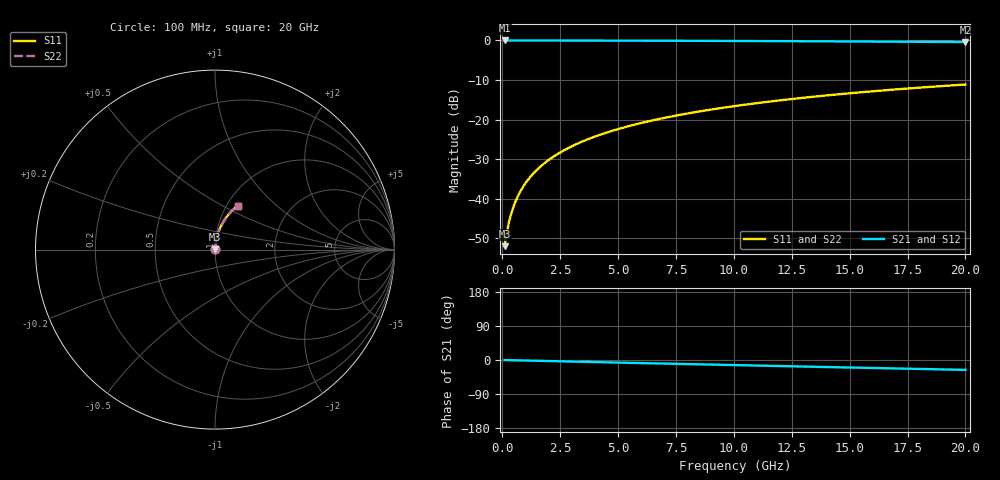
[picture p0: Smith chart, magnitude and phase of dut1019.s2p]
! Touchstone file exported from HFSS 2026.1.0
!  File:  C:/ffzhzh/LocalFiles/Ansys_Project_Files/temp_train_BSMRDL_1019_1783173414_51560.aedt
!  Generated:  09:58:08 PM Jul  4, 2026
!  Design:  BSMRDL
!  Project:  temp_train_BSMRDL_1019_1783173414_51560
! Variables:
!  h_bsmrdl = 3.8um
!  h_ox = 20um
!  h_rdl = 5um
!  h_sub = 80um
!  h_tmrdl = 5um
!  h_tsv = 80um
!  h_via = 3um
!  l_bsmrdl = 334.68um
!  l_sub = 734.68um
!  l_tmrdl = 200um
!  m_sub = 200um
!  pitch = 47.02um
!  r_tsv = 6um
!  s_tmrdl = 10um
!  w_bsmrdl = 18.02um
!  w_sub = 500um
!  w_tmrdl = 12um
!  x_tsv_center1 = 206um
!  x_tsv_center2 = 558.7um
!  x_tsv_center3 = 770.7um
!  x_tsv_center4 = 1123.4um
!  x_tsv_center5 = 1335.4um
!  x_tsv_center6 = 1688.1um
# GHz S MA R 50.000000
! Terminal data exported
! Port[1] = BSM_RDL1_1_T1
! Port[2] = BSM_RDL1_1_T2
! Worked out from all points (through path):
!   200 points, 100 MHz to 20 GHz, reference 50 ohm
!   highest |S21| = -0.02 dB at 100 MHz (marker M1); lowest = -0.4 dB at 20 GHz (marker M2)
!   group delay of S21, straight-line fit = 3.62 ps
!   lowest |S11| = -52.0 dB at 100 MHz (marker M3), VSWR 1.01, Z = 50.2 + j0.164 ohm
!   |S11| at or under -10 dB: start of sweep to end of sweep
!   |S22| runs from -52.0 to -11.1 dB; largest |S21 - S12| = 4e-15
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0.1  0.002507 40.6  0.9981 -0.1  0.9981 -0.1  0.002507 40.6
! Gamma 0 0 0 0
! Port Impedance 50 0 50 0
0.2  0.003791 58.5  0.998 -0.3  0.998 -0.3  0.003791 58.5
0.3  0.005226 66.6  0.998 -0.4  0.998 -0.4  0.005226 66.6
0.4  0.006693 71.1  0.9979 -0.6  0.9979 -0.6  0.006694 71.1
0.5  0.008172 74.0  0.9978 -0.7  0.9978 -0.7  0.008172 74.0
0.6  0.009656 76.0  0.9978 -0.8  0.9978 -0.8  0.009657 76.0
0.8  0.01264 78.6  0.9977 -1.1  0.9977 -1.1  0.01264 78.6
1.1  0.01715 80.6  0.9975 -1.5  0.9975 -1.5  0.01715 80.6
1.5  0.0232 81.9  0.9973 -2.1  0.9973 -2.1  0.0232 81.9
1.8  0.02774 82.4  0.9971 -2.5  0.9971 -2.5  0.02774 82.4
2.1  0.03229 82.6  0.9969 -2.9  0.9969 -2.9  0.03229 82.6
2.7  0.04136 82.5  0.9964 -3.7  0.9964 -3.7  0.04136 82.5
3.5  0.05339 82.0  0.9956 -4.8  0.9956 -4.8  0.05339 82.0
4.2  0.06385 81.4  0.9947 -5.7  0.9947 -5.7  0.06385 81.4
5  0.07571 80.5  0.9936 -6.8  0.9936 -6.8  0.07571 80.5
5.9  0.08892 79.5  0.9921 -8.0  0.9921 -8.0  0.08892 79.5
6.8  0.102 78.4  0.9905 -9.2  0.9905 -9.2  0.102 78.4
8.3  0.1235 76.6  0.9876 -11.2  0.9876 -11.2  0.1235 76.6
10.1  0.1488 74.4  0.9835 -13.6  0.9835 -13.6  0.1488 74.4
13.4  0.1936 70.3  0.9748 -17.8  0.9748 -17.8  0.1936 70.3
16.7  0.2365 66.3  0.9647 -22.0  0.9647 -22.0  0.2365 66.3
20  0.2771 62.4  0.9534 -26.1  0.9534 -26.1  0.2771 62.4
